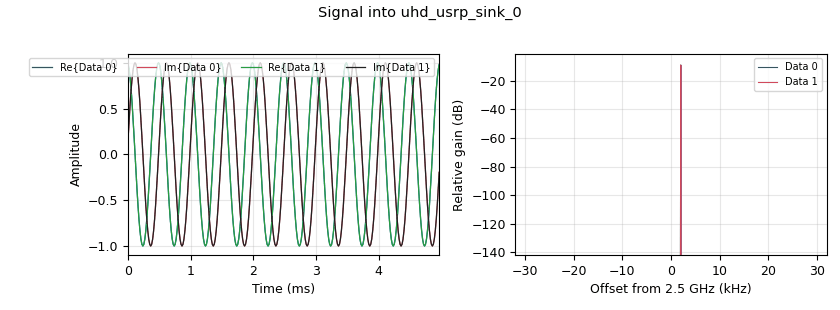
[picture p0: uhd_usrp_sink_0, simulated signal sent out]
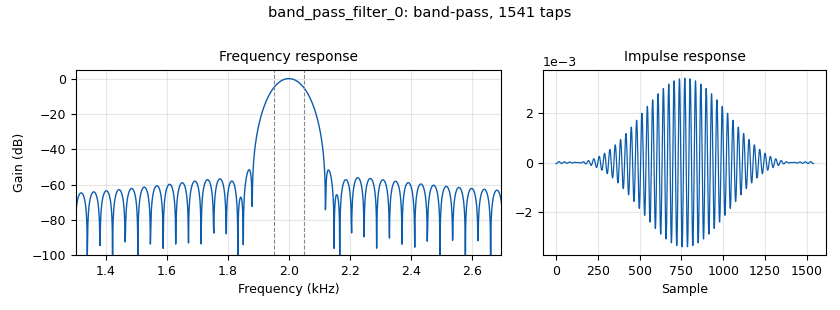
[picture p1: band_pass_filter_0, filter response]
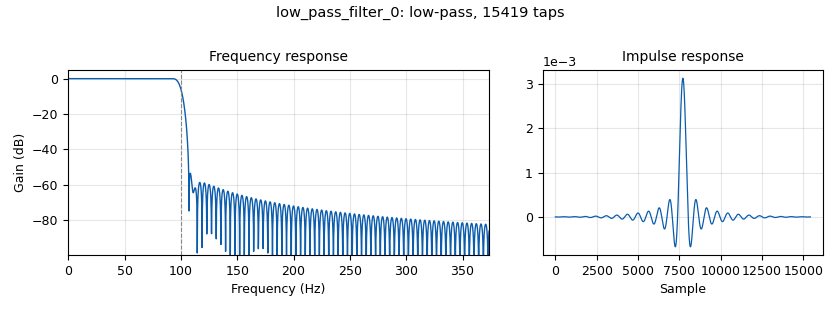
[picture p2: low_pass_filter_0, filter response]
options:
  parameters:
    author: manik
    generate_options: qt_gui
    id: mani
    output_language: python
    title: Victor Coi coupling calibration
  states: {}

blocks:
- name: Fc1
  id: variable
  parameters:
    value: 2.5e9
  states: {}
- name: Fc2
  id: variable
  parameters:
    value: 2.4e9
  states: {}
- name: IF1
  id: variable
  parameters:
    value: 2e3
  states: {}
- name: IF2
  id: variable
  parameters:
    value: 2e3
  states: {}
- name: Leak_Sig1
  id: variable_qtgui_range
  parameters:
    gui_hint: 0,2
    label: Leakage_Calibration_Signal1
    orient: Qt.Horizontal
    start: '0'
    step: '1'
    stop: '1000'
    value: '0'
  states: {}
- name: Leak_Sig2
  id: variable_qtgui_range
  parameters:
    gui_hint: 0,3
    label: Leakage_Calibration_Signal2
    orient: Qt.Horizontal
    start: '0'
    step: '1'
    stop: '1000'
    value: '0'
  states: {}
- name: Mul_Sig1
  id: variable_qtgui_range
  parameters:
    gui_hint: 0,0
    label: Amplitude_Callibration_Signal1
    orient: Qt.Horizontal
    start: '0'
    step: '0.0001'
    stop: '2'
    value: '0.0001'
  states: {}
- name: Mul_Sig2
  id: variable_qtgui_range
  parameters:
    gui_hint: 0,1
    label: Amplitude_Calibration_Signal2
    orient: Qt.Horizontal
    start: '0'
    step: '0.0001'
    stop: '2'
    value: '0.0001'
  states: {}
- name: Rxgain
  id: variable
  parameters:
    value: '30'
  states: {}
- name: Txgain
  id: variable
  parameters:
    value: '60'
  states: {}
- name: delay_Fc1
  id: variable_qtgui_range
  parameters:
    gui_hint: 1,0
    orient: Qt.Horizontal
    start: '0'
    step: '1'
    stop: '1000'
    value: '0'
  states: {}
- name: delay_Fc2
  id: variable_qtgui_range
  parameters:
    gui_hint: 1,1
    orient: Qt.Horizontal
    start: '0'
    step: '1'
    stop: '1000'
    value: '0'
  states: {}
- name: samp_rate
  id: variable
  parameters:
    value: 64e3
  states: {}
- name: analog_sig_source_x_0
  id: analog_sig_source_x
  parameters:
    amp: '1'
    freq: IF1
    offset: '0'
    phase: '0'
    samp_rate: samp_rate
    type: complex
    waveform: analog.GR_COS_WAVE
  states: {}
- name: analog_sig_source_x_1
  id: analog_sig_source_x
  parameters:
    amp: '1'
    freq: IF1
    offset: '0'
    phase: '0'
    samp_rate: samp_rate
    type: complex
    waveform: analog.GR_COS_WAVE
  states: {}
- name: analog_sig_source_x_1_0
  id: analog_sig_source_x
  parameters:
    amp: '1'
    freq: IF2
    offset: '0'
    phase: '0'
    samp_rate: samp_rate
    type: complex
    waveform: analog.GR_COS_WAVE
  states: {}
- name: analog_sig_source_x_1_1
  id: analog_sig_source_x
  parameters:
    amp: '1'
    freq: IF2
    offset: '0'
    phase: '0'
    samp_rate: samp_rate
    type: complex
    waveform: analog.GR_COS_WAVE
  states: {}
- name: band_pass_filter_0
  id: band_pass_filter
  parameters:
    decim: '1'
    gain: '1'
    high_cutoff_freq: IF2+50
    low_cutoff_freq: IF2-50
    samp_rate: samp_rate
    type: fir_filter_ccf
    width: '100'
    win: firdes.WIN_HAMMING
  states: {}
- name: band_pass_filter_0_0
  id: band_pass_filter
  parameters:
    decim: '1'
    gain: '1'
    high_cutoff_freq: IF1+50
    low_cutoff_freq: IF1-50
    samp_rate: samp_rate
    type: fir_filter_ccf
    width: '100'
    win: firdes.WIN_HAMMING
  states: {}
- name: blocks_add_const_vxx_0
  id: blocks_add_const_vxx
  parameters:
    const: '30'
    type: float
  states: {}
- name: blocks_add_xx_0
  id: blocks_add_xx
  parameters:
    type: complex
  states: {}
- name: blocks_add_xx_0_0
  id: blocks_add_xx
  parameters:
    type: complex
  states: {}
- name: blocks_complex_to_arg_0
  id: blocks_complex_to_arg
  parameters: {}
  states: {}
- name: blocks_complex_to_arg_0_0
  id: blocks_complex_to_arg
  parameters: {}
  states: {}
- name: blocks_complex_to_arg_0_0_0
  id: blocks_complex_to_arg
  parameters: {}
  states: {}
- name: blocks_complex_to_float_0_1
  id: blocks_complex_to_float
  parameters: {}
  states: {}
- name: blocks_complex_to_float_0_1_0
  id: blocks_complex_to_float
  parameters: {}
  states: {}
- name: blocks_delay_0
  id: blocks_delay
  parameters:
    delay: Leak_Sig1
    type: complex
  states: {}
- name: blocks_delay_0_0
  id: blocks_delay
  parameters:
    delay: Leak_Sig2
    type: complex
  states: {}
- name: blocks_delay_0_1
  id: blocks_delay
  parameters:
    delay: delay_Fc1
    type: complex
  states: {}
- name: blocks_delay_0_1_0
  id: blocks_delay
  parameters:
    delay: delay_Fc2
    type: complex
  states: {}
- name: blocks_moving_average_xx_0
  id: blocks_moving_average_xx
  parameters:
    length: '4000'
    max_iter: '4000'
    scale: 1/4000
    type: float
  states: {}
- name: blocks_multiply_conjugate_cc_0
  id: blocks_multiply_conjugate_cc
  parameters: {}
  states: {}
- name: blocks_multiply_conjugate_cc_1
  id: blocks_multiply_conjugate_cc
  parameters: {}
  states: {}
- name: blocks_multiply_conjugate_cc_2
  id: blocks_multiply_conjugate_cc
  parameters: {}
  states: {}
- name: blocks_multiply_const_vxx_0
  id: blocks_multiply_const_vxx
  parameters:
    const: Mul_Sig1
    type: complex
  states: {}
- name: blocks_multiply_const_vxx_0_0
  id: blocks_multiply_const_vxx
  parameters:
    const: Mul_Sig2
    type: complex
  states: {}
- name: blocks_multiply_const_vxx_0_1
  id: blocks_multiply_const_vxx
  parameters:
    const: '23.87'
    type: float
  states: {}
- name: blocks_null_sink_0
  id: blocks_null_sink
  parameters:
    type: float
  states: {}
- name: blocks_null_sink_0_0
  id: blocks_null_sink
  parameters:
    type: float
  states: {}
- name: epy_block_0_0
  id: epy_block
  parameters:
    _source_code: |
      """
      Embedded Python Blocks:

      Each time this file is saved, GRC will instantiate the first class it finds
      to get ports and parameters of your block. The arguments to __init__  will
      be the parameters. All of them are required to have default values!
      """

      import numpy as np
      from gnuradio import gr
      import math as m


      class blk(gr.sync_block):  # other base classes are basic_block, decim_block, interp_block
          """Embedded Python Block example - a simple multiply const"""

          def __init__(self, example_param=1.0):  # only default arguments here
              """arguments to this function show up as parameters in GRC"""
              gr.sync_block.__init__(
                  self,
                  name='Negative Phase Calibration Block',   # will show up in GRC
                  in_sig=[np.float32],
                  out_sig=[np.float32]
              )
              # if an attribute with the same name as a parameter is found,
              # a callback is registered (properties work, too).
              self.example_param = example_param

          def work(self, input_items, output_items):
              """example: multiply with constant"""
              for i in range(len(input_items[0])):
                  if input_items[0][i]<0:
                      output_items[0][i]=input_items[0][i]+2*m.pi
                  else:
                      output_items[0][i]=input_items[0][i]
              return len(output_items[0])
    example_param: '1.0'
  states: {}
- name: epy_block_0_0_0_0_0_1
  id: epy_block
  parameters:
    _source_code: |
      """
      Embedded Python Blocks:

      Each time this file is saved, GRC will instantiate the first class it finds
      to get ports and parameters of your block. The arguments to __init__  will
      be the parameters. All of them are required to have default values!
      """

      import numpy as np
      from gnuradio import gr


      class blk(gr.sync_block):  # other base classes are basic_block, decim_block, interp_block
          """Embedded Python Block example - a simple multiply const"""

          def __init__(self, example_param=1.0):  # only default arguments here
              """arguments to this function show up as parameters in GRC"""
              gr.sync_block.__init__(
                  self,
                  name='Peak Detector Block',   # will show up in GRC
                  in_sig=[np.float32],
                  out_sig=[np.float32]
              )
              # if an attribute with the same name as a parameter is found,
              # a callback is registered (properties work, too).
              self.example_param = example_param

          def work(self, input_items, output_items):
              """example: multiply with constant"""
              inp =input_items[0]
              out =output_items[0]
              out[:]=((max(input_items[0])))
              return len(output_items[0])
    example_param: '1.0'
  states: {}
- name: epy_block_0_0_0_0_1
  id: epy_block
  parameters:
    _source_code: |
      """
      Embedded Python Blocks:

      Each time this file is saved, GRC will instantiate the first class it finds
      to get ports and parameters of your block. The arguments to __init__  will
      be the parameters. All of them are required to have default values!
      """

      import numpy as np
      from gnuradio import gr


      class blk(gr.sync_block):  # other base classes are basic_block, decim_block, interp_block
          """Embedded Python Block example - a simple multiply const"""

          def __init__(self, example_param=1.0):  # only default arguments here
              """arguments to this function show up as parameters in GRC"""
              gr.sync_block.__init__(
                  self,
                  name='Peak Detector Block',   # will show up in GRC
                  in_sig=[np.float32],
                  out_sig=[np.float32]
              )
              # if an attribute with the same name as a parameter is found,
              # a callback is registered (properties work, too).
              self.example_param = example_param

          def work(self, input_items, output_items):
              """example: multiply with constant"""
              inp =input_items[0]
              out =output_items[0]
              out[:]=((max(input_items[0])))
              return len(output_items[0])
    example_param: '1.0'
  states: {}
- name: low_pass_filter_0
  id: low_pass_filter
  parameters:
    cutoff_freq: '100'
    decim: '100'
    gain: '1'
    samp_rate: samp_rate
    type: fir_filter_ccf
    width: '10'
    win: firdes.WIN_HAMMING
  states: {}
- name: low_pass_filter_0_0
  id: low_pass_filter
  parameters:
    cutoff_freq: '100'
    decim: '100'
    gain: '1'
    samp_rate: samp_rate
    type: fir_filter_ccf
    width: '10'
    win: firdes.WIN_HAMMING
  states: {}
- name: qtgui_histogram_sink_x_0
  id: qtgui_histogram_sink_x
  parameters:
    bins: '100'
    gui_hint: 3,2
    name: Distance Histogram in cm
    size: '1024'
    type: float
    xmax: '170'
    xmin: '20'
  states: {}
- name: qtgui_number_sink_0
  id: qtgui_number_sink
  parameters:
    autoscale: 'True'
    graph_type: qtgui.NUM_GRAPH_HORIZ
    gui_hint: 3,1
    name: Distance in cm
    type: float
  states: {}
- name: qtgui_number_sink_0_0
  id: qtgui_number_sink
  parameters:
    autoscale: 'True'
    graph_type: qtgui.NUM_GRAPH_HORIZ
    gui_hint: 3,0
    name: Phase Difference in radians
    type: float
  states: {}
- name: qtgui_number_sink_1_0_1
  id: qtgui_number_sink
  parameters:
    autoscale: 'True'
    graph_type: qtgui.NUM_GRAPH_HORIZ
    gui_hint: 1,3
    name: Signal2_peak_before_Calibration
    type: float
  states: {}
- name: qtgui_number_sink_1_1
  id: qtgui_number_sink
  parameters:
    autoscale: 'True'
    graph_type: qtgui.NUM_GRAPH_HORIZ
    gui_hint: 1,2
    name: Signal1_peak_before_calibration
    type: float
  states: {}
- name: qtgui_number_sink_3
  id: qtgui_number_sink
  parameters:
    autoscale: 'True'
    graph_type: qtgui.NUM_GRAPH_HORIZ
    gui_hint: 2,2
    name: phase_2.5 in radians
    type: float
  states: {}
- name: qtgui_number_sink_4
  id: qtgui_number_sink
  parameters:
    autoscale: 'True'
    graph_type: qtgui.NUM_GRAPH_HORIZ
    gui_hint: 2,3
    name: phase_2.4 in radians
    type: float
  states: {}
- name: qtgui_time_sink_x_2
  id: qtgui_time_sink_x
  parameters:
    gui_hint: 2,1
    name: I2_Q2_After _leakage _Calibration
    size: '1024'
    srate: samp_rate
    type: complex
  states: {}
- name: qtgui_time_sink_x_3
  id: qtgui_time_sink_x
  parameters:
    gui_hint: 2,0
    name: I1_Q1_After _leakage _Calibration
    size: '1024'
    srate: samp_rate
    type: complex
  states: {}
- name: uhd_usrp_sink_0
  id: uhd_usrp_sink
  parameters:
    ant0: TX/RX
    ant1: TX/RX
    center_freq0: Fc1
    center_freq1: Fc2
    dev_args: '""'
    gain0: Txgain
    gain1: Txgain
    len_tag_name: ''
    nchan: '2'
    norm_gain0: 'False'
    norm_gain1: 'False'
    samp_rate: samp_rate
    sync: sync
    type: fc32
  states: {}
- name: uhd_usrp_source_0
  id: uhd_usrp_source
  parameters:
    ant0: RX2
    ant1: RX2
    center_freq0: Fc1
    center_freq1: Fc2
    dc_offs_enb0: '""'
    dc_offs_enb1: '""'
    dev_args: '""'
    gain0: Rxgain
    gain1: Rxgain
    iq_imbal_enb0: '""'
    iq_imbal_enb1: '""'
    nchan: '2'
    norm_gain0: 'False'
    norm_gain1: 'False'
    samp_rate: samp_rate
    sync: sync
    type: fc32
  states: {}

connections:
- [analog_sig_source_x_0, '0', blocks_multiply_conjugate_cc_0, '1']
- [analog_sig_source_x_0, '0', uhd_usrp_sink_0, '0']
- [analog_sig_source_x_1, '0', blocks_delay_0, '0']
- [analog_sig_source_x_1_0, '0', blocks_multiply_conjugate_cc_1, '1']
- [analog_sig_source_x_1_0, '0', uhd_usrp_sink_0, '1']
- [analog_sig_source_x_1_1, '0', blocks_delay_0_0, '0']
- [band_pass_filter_0, '0', blocks_add_xx_0_0, '1']
- [band_pass_filter_0, '0', blocks_complex_to_float_0_1_0, '0']
- [band_pass_filter_0_0, '0', blocks_add_xx_0, '1']
- [band_pass_filter_0_0, '0', blocks_complex_to_float_0_1, '0']
- [blocks_add_const_vxx_0, '0', qtgui_histogram_sink_x_0, '0']
- [blocks_add_const_vxx_0, '0', qtgui_number_sink_0, '0']
- [blocks_add_xx_0, '0', blocks_delay_0_1, '0']
- [blocks_add_xx_0, '0', qtgui_time_sink_x_3, '0']
- [blocks_add_xx_0_0, '0', blocks_delay_0_1_0, '0']
- [blocks_add_xx_0_0, '0', qtgui_time_sink_x_2, '0']
- [blocks_complex_to_arg_0, '0', qtgui_number_sink_3, '0']
- [blocks_complex_to_arg_0_0, '0', qtgui_number_sink_4, '0']
- [blocks_complex_to_arg_0_0_0, '0', blocks_moving_average_xx_0, '0']
- [blocks_complex_to_float_0_1, '0', epy_block_0_0_0_0_1, '0']
- [blocks_complex_to_float_0_1, '1', blocks_null_sink_0, '0']
- [blocks_complex_to_float_0_1_0, '0', epy_block_0_0_0_0_0_1, '0']
- [blocks_complex_to_float_0_1_0, '1', blocks_null_sink_0_0, '0']
- [blocks_delay_0, '0', blocks_multiply_const_vxx_0, '0']
- [blocks_delay_0_0, '0', blocks_multiply_const_vxx_0_0, '0']
- [blocks_delay_0_1, '0', blocks_multiply_conjugate_cc_0, '0']
- [blocks_delay_0_1_0, '0', blocks_multiply_conjugate_cc_1, '0']
- [blocks_moving_average_xx_0, '0', epy_block_0_0, '0']
- [blocks_multiply_conjugate_cc_0, '0', blocks_multiply_conjugate_cc_2, '0']
- [blocks_multiply_conjugate_cc_0, '0', low_pass_filter_0_0, '0']
- [blocks_multiply_conjugate_cc_1, '0', blocks_multiply_conjugate_cc_2, '1']
- [blocks_multiply_conjugate_cc_1, '0', low_pass_filter_0, '0']
- [blocks_multiply_conjugate_cc_2, '0', blocks_complex_to_arg_0_0_0, '0']
- [blocks_multiply_const_vxx_0, '0', blocks_add_xx_0, '0']
- [blocks_multiply_const_vxx_0_0, '0', blocks_add_xx_0_0, '0']
- [blocks_multiply_const_vxx_0_1, '0', blocks_add_const_vxx_0, '0']
- [epy_block_0_0, '0', blocks_multiply_const_vxx_0_1, '0']
- [epy_block_0_0, '0', qtgui_number_sink_0_0, '0']
- [epy_block_0_0_0_0_0_1, '0', qtgui_number_sink_1_0_1, '0']
- [epy_block_0_0_0_0_1, '0', qtgui_number_sink_1_1, '0']
- [low_pass_filter_0, '0', blocks_complex_to_arg_0_0, '0']
- [low_pass_filter_0_0, '0', blocks_complex_to_arg_0, '0']
- [uhd_usrp_source_0, '0', band_pass_filter_0_0, '0']
- [uhd_usrp_source_0, '1', band_pass_filter_0, '0']

metadata:
  file_format: 1
